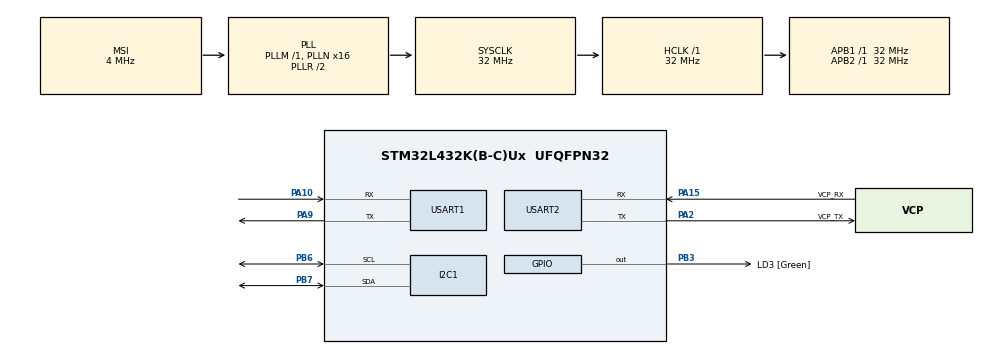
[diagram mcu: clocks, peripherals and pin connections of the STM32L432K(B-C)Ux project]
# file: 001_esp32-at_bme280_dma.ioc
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Dma.Request0=USART1_RX
Dma.Request1=USART1_TX
Dma.USART1_RX.0.Direction=DMA_PERIPH_TO_MEMORY
Dma.USART1_RX.0.Instance=DMA1_Channel5
Dma.USART1_RX.0.MemDataAlignment=DMA_MDATAALIGN_BYTE
Dma.USART1_RX.0.MemInc=DMA_MINC_ENABLE
Dma.USART1_RX.0.Mode=DMA_CIRCULAR
Dma.USART1_RX.0.PeriphDataAlignment=DMA_PDATAALIGN_BYTE
Dma.USART1_RX.0.PeriphInc=DMA_PINC_DISABLE
Dma.USART1_RX.0.Priority=DMA_PRIORITY_HIGH
Dma.USART1_TX.1.Direction=DMA_MEMORY_TO_PERIPH
Dma.USART1_TX.1.Instance=DMA1_Channel4
Dma.USART1_TX.1.MemDataAlignment=DMA_MDATAALIGN_BYTE
Dma.USART1_TX.1.MemInc=DMA_MINC_ENABLE
Dma.USART1_TX.1.Mode=DMA_NORMAL
Dma.USART1_TX.1.PeriphDataAlignment=DMA_PDATAALIGN_BYTE
Dma.USART1_TX.1.PeriphInc=DMA_PINC_DISABLE
Dma.USART1_TX.1.Priority=DMA_PRIORITY_LOW
I2C1.Timing=0x00B07CB4
Mcu.Family=STM32L4
Mcu.Name=STM32L432K(B-C)Ux
Mcu.Package=UFQFPN32
NVIC.DMA1_Channel4_IRQn=true\:0\:0\:false\:false\:true\:false\:true\:true
NVIC.DMA1_Channel5_IRQn=true\:0\:0\:false\:false\:true\:false\:true\:true
NVIC.I2C1_ER_IRQn=true\:0\:0\:false\:false\:true\:true\:true\:true
NVIC.I2C1_EV_IRQn=true\:0\:0\:false\:false\:true\:true\:true\:true
NVIC.PriorityGroup=NVIC_PRIORITYGROUP_4
NVIC.TIM6_DAC_IRQn=true\:0\:0\:false\:false\:true\:true\:true\:true
NVIC.USART1_IRQn=true\:0\:0\:false\:false\:true\:true\:true\:true
NVIC.USART2_IRQn=true\:0\:0\:false\:false\:true\:true\:true\:true
PA0.GPIO_Label=MCO [High speed clock in]
PA0.Mode=HSE-External-Clock-Source-for-LittleOrca
PA0.Signal=RCC_CK_IN
PA10.Mode=Asynchronous
PA10.Signal=USART1_RX
PA13\ (JTMS-SWDIO).GPIO_Label=SWDIO
PA13\ (JTMS-SWDIO).Mode=Serial_Wire
PA13\ (JTMS-SWDIO).Signal=SYS_JTMS-SWDIO
PA14\ (JTCK-SWCLK).GPIO_Label=SWCLK
PA14\ (JTCK-SWCLK).Mode=Serial_Wire
PA14\ (JTCK-SWCLK).Signal=SYS_JTCK-SWCLK
PA15\ (JTDI).GPIO_Label=VCP_RX
PA15\ (JTDI).Mode=Asynchronous
PA15\ (JTDI).Signal=USART2_RX
PA2.GPIO_Label=VCP_TX
PA2.Mode=Asynchronous
PA2.Signal=USART2_TX
PA9.Mode=Asynchronous
PA9.Signal=USART1_TX
PB3\ (JTDO-TRACESWO).GPIO_Label=LD3 [Green]
PB3\ (JTDO-TRACESWO).Signal=GPIO_Output
PB6.Mode=I2C
PB6.Signal=I2C1_SCL
PB7.Mode=I2C
PB7.Signal=I2C1_SDA
PC14-OSC32_IN\ (PC14).Mode=LSE-External-Oscillator
PC14-OSC32_IN\ (PC14).Signal=RCC_OSC32_IN
PC15-OSC32_OUT\ (PC15).Mode=LSE-External-Oscillator
PC15-OSC32_OUT\ (PC15).Signal=RCC_OSC32_OUT
ProjectManager.HeapSize=0x200
ProjectManager.StackSize=0x400
ProjectManager.TargetToolchain=STM32CubeIDE
RCC.AHBFreq_Value=32000000
RCC.APB1Freq_Value=32000000
RCC.APB1TimFreq_Value=32000000
RCC.APB2Freq_Value=32000000
RCC.APB2TimFreq_Value=32000000
RCC.CortexFreq_Value=32000000
RCC.HCLKFreq_Value=32000000
RCC.HSE_VALUE=8000000
RCC.HSI16_VALUE=16000000
RCC.HSI48_VALUE=48000000
RCC.HSI_VALUE=16000000
RCC.MSI_VALUE=4000000
RCC.PLLMUL=RCC_PLLMUL_4
RCC.PLLN=16
RCC.SYSCLKFreq_VALUE=32000000
RCC.SYSCLKSource=RCC_SYSCLKSOURCE_PLLCLK
RCC.VCOOutputFreq_Value=64000000
USART1.VirtualMode-Asynchronous=VM_ASYNC
USART2.VirtualMode-Asynchronous=VM_ASYNC
VP_TIM6_VS_ClockSourceINT.Mode=Enable_Timer
board=NUCLEO-L432KC

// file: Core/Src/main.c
/* USER CODE BEGIN Header */
/**
  ******************************************************************************
  * @file           : main.c
  * @brief          : Main program body
  ******************************************************************************
  * @attention
  *
  * Copyright (c) 2025 STMicroelectronics.
  * All rights reserved.
  *
  * This software is licensed under terms that can be found in the LICENSE file
  * in the root directory of this software component.
  * If no LICENSE file comes with this software, it is provided AS-IS.
  *
  ******************************************************************************
  */
/* USER CODE END Header */
#include "main.h"

/* USER CODE BEGIN Includes */
#include "ringbuffer.h"
#include "bme280_stm32.h"
#include <stdio.h>
#include <string.h>
#include "esp32_at_stm32.h"
#include "bme280_mqtt_publisher.h"
/* USER CODE END Includes */

/* USER CODE BEGIN PD */
#define WELCOME_MSG "Welcome to the Nucleo management console\r\n"
#define MAIN_MENU   "Select the option you are interested in:\r\n\t1. Toggle LD2 LED\r\n\t2. Read USER BUTTON status\r\n\t3. Clear screen and print this message "
#define PROMPT "\r\n> "

// WiFi configuration
#define WIFI_SSID "___"
#define WIFI_PASSWORD "___"
/* USER CODE END PD */

/* USER CODE BEGIN PM */
char readBuf[1];
uint8_t txData;
__IO ITStatus UartReady = SET;
__IO ITStatus UartTxComplete = SET;
RingBuffer txBuf, rxBuf;
/* USER CODE END PM */

I2C_HandleTypeDef hi2c1;

TIM_HandleTypeDef htim6;

UART_HandleTypeDef huart1;
UART_HandleTypeDef huart2;
DMA_HandleTypeDef hdma_usart1_rx;
DMA_HandleTypeDef hdma_usart1_tx;

void SystemClock_Config(void);
static void MX_GPIO_Init(void);
static void MX_DMA_Init(void);
static void MX_USART2_UART_Init(void);
static void MX_USART1_UART_Init(void);
static void MX_I2C1_Init(void);
static void MX_TIM6_Init(void);
/* USER CODE BEGIN PFP */
int _write(int file, char *ptr, int len)
{
  if (UART_Transmit(&huart2, (uint8_t *)ptr, len))
  {
    // Wait for transmission to complete to ensure log integrity
    while (UartTxComplete == RESET || RingBuffer_GetDataLength(&txBuf) > 0)
    {
      // Allow other interrupts to process
      __NOP();
    }
    return len;
  }
  return 0; // Return 0 on failure
}

char ip_buf[16];
/* USER CODE END PFP */

/* USER CODE BEGIN 0 */
struct bme280_dev dev;
struct bme280_data comp_data;
/* USER CODE END 0 */

int main(void)
{

  /* MCU Configuration--------------------------------------------------------*/

  /* Reset of all peripherals, Initializes the Flash interface and the Systick. */
  HAL_Init();

  /* USER CODE BEGIN Init */

  HAL_Delay(1000);  // give ESP32 time to stabilize before STM32 starts communicating

  /* USER CODE END Init */

  /* Configure the system clock */
  SystemClock_Config();

  /* Initialize all configured peripherals */
  MX_GPIO_Init();
  MX_DMA_Init();
  MX_USART2_UART_Init();
  MX_USART1_UART_Init();
  MX_I2C1_Init();
  MX_TIM6_Init();
  /* USER CODE BEGIN 2 */
  RingBuffer_Init(&txBuf);
  RingBuffer_Init(&rxBuf);

  HAL_Delay(500);   // additional delay for I2C bus stabilization

  // init bme280
  int8_t rslt = bme280_init_sensor(&dev);

  if (rslt != BME280_OK) {
      printf("BME280 initialization failed! Error code: %d\r\n", rslt);
      Error_Handler();
  }

  printf("BME280 initialized!\r\n");

  // Initialize ESP32 and WiFi connection
  ESP8266_Status esp_result = ESP_Init();
  if (esp_result != ESP8266_OK) {
      printf("ESP32 initialization failed! Error code: %d\r\n", esp_result);
      printf("Continuing without WiFi/MQTT functionality\r\n");
  } else {
      esp_result = ESP_ConnectWiFi(WIFI_SSID, WIFI_PASSWORD, ip_buf, sizeof(ip_buf));
      if (esp_result != ESP8266_OK) {
          printf("WiFi connection failed! Error code: %d\r\n", esp_result);
          printf("Continuing without WiFi/MQTT functionality\r\n");
      } else {
          printf("WiFi connected successfully, IP: %s\r\n", ip_buf);
      }
  }

  /* USER CODE END 2 */

  /* Infinite loop */
  /* USER CODE BEGIN WHILE */
  while (1)
  {
	  bme280_mqtt_task();
	  HAL_Delay(100);
    /* USER CODE END WHILE */

  }
}

void SystemClock_Config(void)
{
  RCC_OscInitTypeDef RCC_OscInitStruct = {0};
  RCC_ClkInitTypeDef RCC_ClkInitStruct = {0};

  /** Configure the main internal regulator output voltage
  */
  if (HAL_PWREx_ControlVoltageScaling(PWR_REGULATOR_VOLTAGE_SCALE1) != HAL_OK)
  {
    Error_Handler();
  }

  /** Configure LSE Drive Capability
  */
  HAL_PWR_EnableBkUpAccess();
  __HAL_RCC_LSEDRIVE_CONFIG(RCC_LSEDRIVE_LOW);

  /** Initializes the RCC Oscillators according to the specified parameters
  * in the RCC_OscInitTypeDef structure.
  */
  RCC_OscInitStruct.OscillatorType = RCC_OSCILLATORTYPE_LSE|RCC_OSCILLATORTYPE_MSI;
  RCC_OscInitStruct.LSEState = RCC_LSE_ON;
  RCC_OscInitStruct.MSIState = RCC_MSI_ON;
  RCC_OscInitStruct.MSICalibrationValue = 0;
  RCC_OscInitStruct.MSIClockRange = RCC_MSIRANGE_6;
  RCC_OscInitStruct.PLL.PLLState = RCC_PLL_ON;
  RCC_OscInitStruct.PLL.PLLSource = RCC_PLLSOURCE_MSI;
  RCC_OscInitStruct.PLL.PLLM = 1;
  RCC_OscInitStruct.PLL.PLLN = 16;
  RCC_OscInitStruct.PLL.PLLP = RCC_PLLP_DIV7;
  RCC_OscInitStruct.PLL.PLLQ = RCC_PLLQ_DIV2;
  RCC_OscInitStruct.PLL.PLLR = RCC_PLLR_DIV2;
  if (HAL_RCC_OscConfig(&RCC_OscInitStruct) != HAL_OK)
  {
    Error_Handler();
  }

  /** Initializes the CPU, AHB and APB buses clocks
  */
  RCC_ClkInitStruct.ClockType = RCC_CLOCKTYPE_HCLK|RCC_CLOCKTYPE_SYSCLK
                              |RCC_CLOCKTYPE_PCLK1|RCC_CLOCKTYPE_PCLK2;
  RCC_ClkInitStruct.SYSCLKSource = RCC_SYSCLKSOURCE_PLLCLK;
  RCC_ClkInitStruct.AHBCLKDivider = RCC_SYSCLK_DIV1;
  RCC_ClkInitStruct.APB1CLKDivider = RCC_HCLK_DIV1;
  RCC_ClkInitStruct.APB2CLKDivider = RCC_HCLK_DIV1;

  if (HAL_RCC_ClockConfig(&RCC_ClkInitStruct, FLASH_LATENCY_1) != HAL_OK)
  {
    Error_Handler();
  }

  /** Enable MSI Auto calibration
  */
  HAL_RCCEx_EnableMSIPLLMode();
}

static void MX_I2C1_Init(void)
{

  hi2c1.Instance = I2C1;
  hi2c1.Init.Timing = 0x00B07CB4;
  hi2c1.Init.OwnAddress1 = 0;
  hi2c1.Init.AddressingMode = I2C_ADDRESSINGMODE_7BIT;
  hi2c1.Init.DualAddressMode = I2C_DUALADDRESS_DISABLE;
  hi2c1.Init.OwnAddress2 = 0;
  hi2c1.Init.OwnAddress2Masks = I2C_OA2_NOMASK;
  hi2c1.Init.GeneralCallMode = I2C_GENERALCALL_DISABLE;
  hi2c1.Init.NoStretchMode = I2C_NOSTRETCH_DISABLE;
  if (HAL_I2C_Init(&hi2c1) != HAL_OK)
  {
    Error_Handler();
  }

  /** Configure Analogue filter
  */
  if (HAL_I2CEx_ConfigAnalogFilter(&hi2c1, I2C_ANALOGFILTER_ENABLE) != HAL_OK)
  {
    Error_Handler();
  }

  /** Configure Digital filter
  */
  if (HAL_I2CEx_ConfigDigitalFilter(&hi2c1, 0) != HAL_OK)
  {
    Error_Handler();
  }

}

static void MX_TIM6_Init(void)
{

  TIM_MasterConfigTypeDef sMasterConfig = {0};

  htim6.Instance = TIM6;
  htim6.Init.Prescaler = 0;
  htim6.Init.CounterMode = TIM_COUNTERMODE_UP;
  htim6.Init.Period = 65535;
  htim6.Init.AutoReloadPreload = TIM_AUTORELOAD_PRELOAD_DISABLE;
  if (HAL_TIM_Base_Init(&htim6) != HAL_OK)
  {
    Error_Handler();
  }
  sMasterConfig.MasterOutputTrigger = TIM_TRGO_RESET;
  sMasterConfig.MasterSlaveMode = TIM_MASTERSLAVEMODE_DISABLE;
  if (HAL_TIMEx_MasterConfigSynchronization(&htim6, &sMasterConfig) != HAL_OK)
  {
    Error_Handler();
  }

}

static void MX_USART1_UART_Init(void)
{

  huart1.Instance = USART1;
  huart1.Init.BaudRate = 115200;
  huart1.Init.WordLength = UART_WORDLENGTH_8B;
  huart1.Init.StopBits = UART_STOPBITS_1;
  huart1.Init.Parity = UART_PARITY_NONE;
  huart1.Init.Mode = UART_MODE_TX_RX;
  huart1.Init.HwFlowCtl = UART_HWCONTROL_NONE;
  huart1.Init.OverSampling = UART_OVERSAMPLING_16;
  huart1.Init.OneBitSampling = UART_ONE_BIT_SAMPLE_DISABLE;
  huart1.AdvancedInit.AdvFeatureInit = UART_ADVFEATURE_NO_INIT;
  if (HAL_UART_Init(&huart1) != HAL_OK)
  {
    Error_Handler();
  }

}

static void MX_USART2_UART_Init(void)
{

  huart2.Instance = USART2;
  huart2.Init.BaudRate = 115200;
  huart2.Init.WordLength = UART_WORDLENGTH_8B;
  huart2.Init.StopBits = UART_STOPBITS_1;
  huart2.Init.Parity = UART_PARITY_NONE;
  huart2.Init.Mode = UART_MODE_TX_RX;
  huart2.Init.HwFlowCtl = UART_HWCONTROL_NONE;
  huart2.Init.OverSampling = UART_OVERSAMPLING_16;
  huart2.Init.OneBitSampling = UART_ONE_BIT_SAMPLE_DISABLE;
  huart2.AdvancedInit.AdvFeatureInit = UART_ADVFEATURE_NO_INIT;
  if (HAL_UART_Init(&huart2) != HAL_OK)
  {
    Error_Handler();
  }

}

static void MX_DMA_Init(void)
{

  /* DMA controller clock enable */
  __HAL_RCC_DMA1_CLK_ENABLE();

  /* DMA interrupt init */
  /* DMA1_Channel4_IRQn interrupt configuration */
  HAL_NVIC_SetPriority(DMA1_Channel4_IRQn, 0, 0);
  HAL_NVIC_EnableIRQ(DMA1_Channel4_IRQn);
  /* DMA1_Channel5_IRQn interrupt configuration */
  HAL_NVIC_SetPriority(DMA1_Channel5_IRQn, 0, 0);
  HAL_NVIC_EnableIRQ(DMA1_Channel5_IRQn);

}

static void MX_GPIO_Init(void)
{
  GPIO_InitTypeDef GPIO_InitStruct = {0};

  /* GPIO Ports Clock Enable */
  __HAL_RCC_GPIOC_CLK_ENABLE();
  __HAL_RCC_GPIOA_CLK_ENABLE();
  __HAL_RCC_GPIOB_CLK_ENABLE();

  /*Configure GPIO pin Output Level */
  HAL_GPIO_WritePin(LD3_GPIO_Port, LD3_Pin, GPIO_PIN_RESET);

  /*Configure GPIO pin : LD3_Pin */
  GPIO_InitStruct.Pin = LD3_Pin;
  GPIO_InitStruct.Mode = GPIO_MODE_OUTPUT_PP;
  GPIO_InitStruct.Pull = GPIO_NOPULL;
  GPIO_InitStruct.Speed = GPIO_SPEED_FREQ_LOW;
  HAL_GPIO_Init(LD3_GPIO_Port, &GPIO_InitStruct);

}

/* USER CODE BEGIN 4 */
uint8_t UART_Transmit(UART_HandleTypeDef *huart, uint8_t *pData, uint16_t len)
{
  UartTxComplete = RESET; // Mark transmission as in progress
  if (HAL_UART_Transmit_IT(huart, pData, len) != HAL_OK)
  {
    if (RingBuffer_Write(&txBuf, pData, len) != RING_BUFFER_OK)
      return 0;
  }
  return 1;
}

void HAL_UART_RxCpltCallback(UART_HandleTypeDef *UartHandle)
{
  /* Set transmission flag: transfer complete*/
  UartReady = SET;
}

void HAL_UART_TxCpltCallback(UART_HandleTypeDef *huart)
{
  if (huart == &huart2)
  {
    if (RingBuffer_GetDataLength(&txBuf) > 0)
    {
      RingBuffer_Read(&txBuf, &txData, 1);
      HAL_UART_Transmit_IT(huart, &txData, 1);
    }
    else
    {
      UartTxComplete = SET; // Mark transmission as complete when buffer is empty
    }
  }
}

void HAL_UART_RxHalfCpltCallback(UART_HandleTypeDef *huart)
{
  if (huart == &huart1)
  {
    // UART4 DMA RX half complete - update tail pointer for circular buffer
    // This helps in handling continuous reception
  }
}

void HAL_UART_ErrorCallback(UART_HandleTypeDef *huart)
{
  if (huart == &huart1)
  {
    // Handle UART4 errors - restart DMA reception if needed
    HAL_UART_DMAStop(&huart1);
    ESP_DMA_StartReceive();
  }
}
/* USER CODE END 4 */

void Error_Handler(void)
{
  /* USER CODE BEGIN Error_Handler_Debug */
  /* User can add his own implementation to report the HAL error return state */
  __disable_irq();
  HAL_GPIO_WritePin(LD3_GPIO_Port, LD3_Pin, GPIO_PIN_SET);
  while (1)
  {
  }
  /* USER CODE END Error_Handler_Debug */
}
